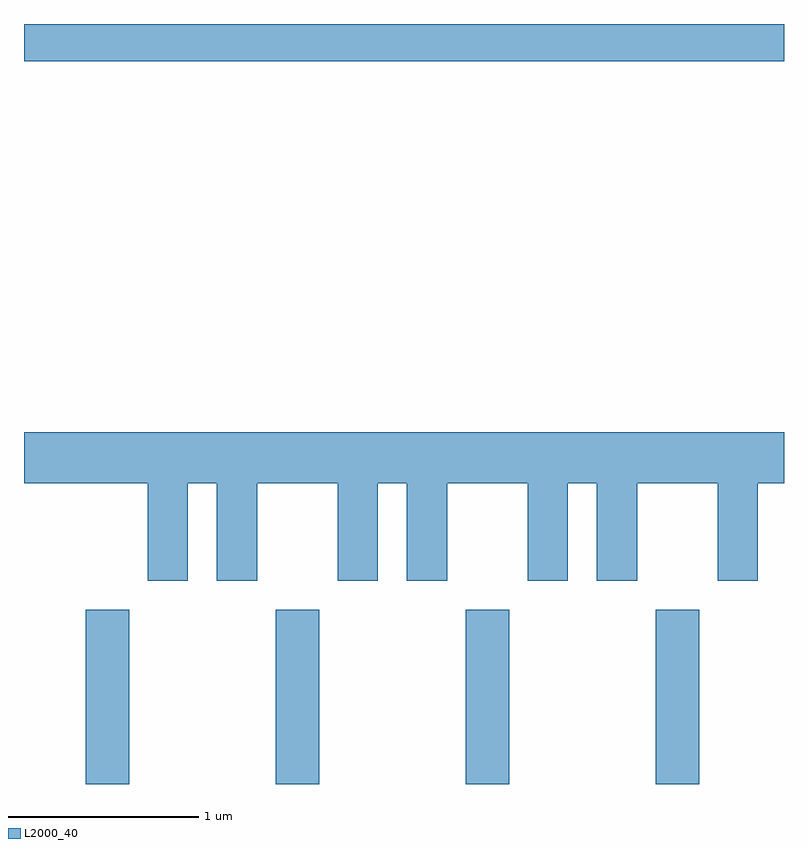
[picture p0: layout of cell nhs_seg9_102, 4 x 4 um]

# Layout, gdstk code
import gdstk
lib = gdstk.Library(unit=1e-6, precision=1e-09)
def R(c, l, rs):  # rectangles x0, y0, x1, y1
    for r in rs: c.add(gdstk.rectangle(r[:2], r[2:], *l))
def A(c, l, x, y, w, h, nx, ny, dx, dy):  # array of equal rectangles
    R(c, l, [(x+i*dx, y+j*dy, x+i*dx+w, y+j*dy+h) for i in range(nx) for j in range(ny)])
def P(c, l, *ps):  # polygons
    for p in ps: c.add(gdstk.Polygon(p, *l))
L2000_40 = (2000, 40)

nhs_seg9_102 = lib.new_cell('nhs_seg9_102')
A(nhs_seg9_102, L2000_40, 187.936, 2012.432, 0.228, 0.917, 4, 1, 1, 0)
R(nhs_seg9_102, L2000_40, [(187.611,2016.236,191.611,2016.432)])
P(nhs_seg9_102, L2000_40, [(188.474,2014.016),(188.626,2014.016),(188.626,2013.501),(188.839,2013.501),(188.839,2014.016),(189.261,2014.016),(189.261,2013.501),(189.474,2013.501),(189.474,2014.016),(189.626,2014.016),(189.626,2013.501),(189.839,2013.501),(189.839,2014.016),(190.261,2014.016),(190.261,2013.501),(190.474,2013.501),(190.474,2014.016),(190.626,2014.016),(190.626,2013.501),(190.839,2013.501),(190.839,2014.016),(191.261,2014.016),(191.261,2013.501),(191.474,2013.501),(191.474,2014.016),(191.611,2014.016),(191.611,2014.284),(187.611,2014.284),(187.611,2014.016),(188.261,2014.016),(188.261,2013.501),(188.474,2013.501)])

lib.write_gds('nhs_seg9_102.gds')
